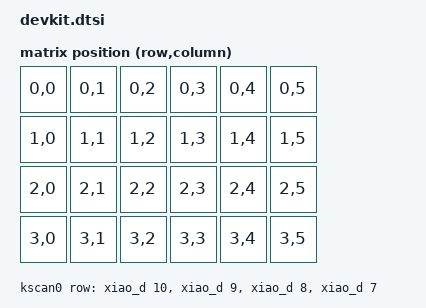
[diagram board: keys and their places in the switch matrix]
#include <dt-bindings/zmk/matrix_transform.h>
#include <physical_layouts.dtsi>

#include "../common/underglow.dtsi"
#include "../common/free_kscan_pins.dtsi"

/ {
    chosen {
        zmk,physical-layout = &physical_layout0;
        /* devkit drives the real strip directly -- no connection indicator. */
        zmk,underglow = &led_strip;
    };

    physical_layout0: physical_layout0 {
        compatible = "zmk,physical-layout";
        display-name = "devkit";
        kscan = <&kscan0>;
        transform = <&default_transform>;

        keys  //                     w   h    x    y     rot    rx    ry
            = <&key_physical_attrs 100 100    0    0       0     0     0>
            , <&key_physical_attrs 100 100  100    0       0     0     0>
            , <&key_physical_attrs 100 100  200    0       0     0     0>
            , <&key_physical_attrs 100 100  300    0       0     0     0>
            , <&key_physical_attrs 100 100  400    0       0     0     0>
            , <&key_physical_attrs 100 100  500    0       0     0     0>
            , <&key_physical_attrs 100 100    0  100       0     0     0>
            , <&key_physical_attrs 100 100  100  100       0     0     0>
            , <&key_physical_attrs 100 100  200  100       0     0     0>
            , <&key_physical_attrs 100 100  300  100       0     0     0>
            , <&key_physical_attrs 100 100  400  100       0     0     0>
            , <&key_physical_attrs 100 100  500  100       0     0     0>
            , <&key_physical_attrs 100 100    0  200       0     0     0>
            , <&key_physical_attrs 100 100  100  200       0     0     0>
            , <&key_physical_attrs 100 100  200  200       0     0     0>
            , <&key_physical_attrs 100 100  300  200       0     0     0>
            , <&key_physical_attrs 100 100  400  200       0     0     0>
            , <&key_physical_attrs 100 100  500  200       0     0     0>
            , <&key_physical_attrs 100 100    0  300       0     0     0>
            , <&key_physical_attrs 100 100  100  300       0     0     0>
            , <&key_physical_attrs 100 100  200  300       0     0     0>
            , <&key_physical_attrs 100 100  300  300       0     0     0>
            , <&key_physical_attrs 100 100  400  300       0     0     0>
            , <&key_physical_attrs 100 100  500  300       0     0     0>
            ;
    };

    default_transform: keymap_transform0 {
        compatible = "zmk,matrix-transform";
        columns = <6>;
        rows = <4>;
        map = <
            RC(0,0) RC(0,1) RC(0,2) RC(0,3) RC(0,4) RC(0,5)
            RC(1,0) RC(1,1) RC(1,2) RC(1,3) RC(1,4) RC(1,5)
            RC(2,0) RC(2,1) RC(2,2) RC(2,3) RC(2,4) RC(2,5)
            RC(3,0) RC(3,1) RC(3,2) RC(3,3) RC(3,4) RC(3,5)
        >;
    };

    kscan0: kscan0 {
        compatible = "zmk,kscan-gpio-matrix";
        diode-direction = "col2row";

        row-gpios
            = <&xiao_d 10 (GPIO_ACTIVE_HIGH | GPIO_PULL_DOWN)>
            , <&xiao_d 9 (GPIO_ACTIVE_HIGH | GPIO_PULL_DOWN)>
            , <&xiao_d 8 (GPIO_ACTIVE_HIGH | GPIO_PULL_DOWN)>
            , <&xiao_d 7 (GPIO_ACTIVE_HIGH | GPIO_PULL_DOWN)>
            ;
    };
};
